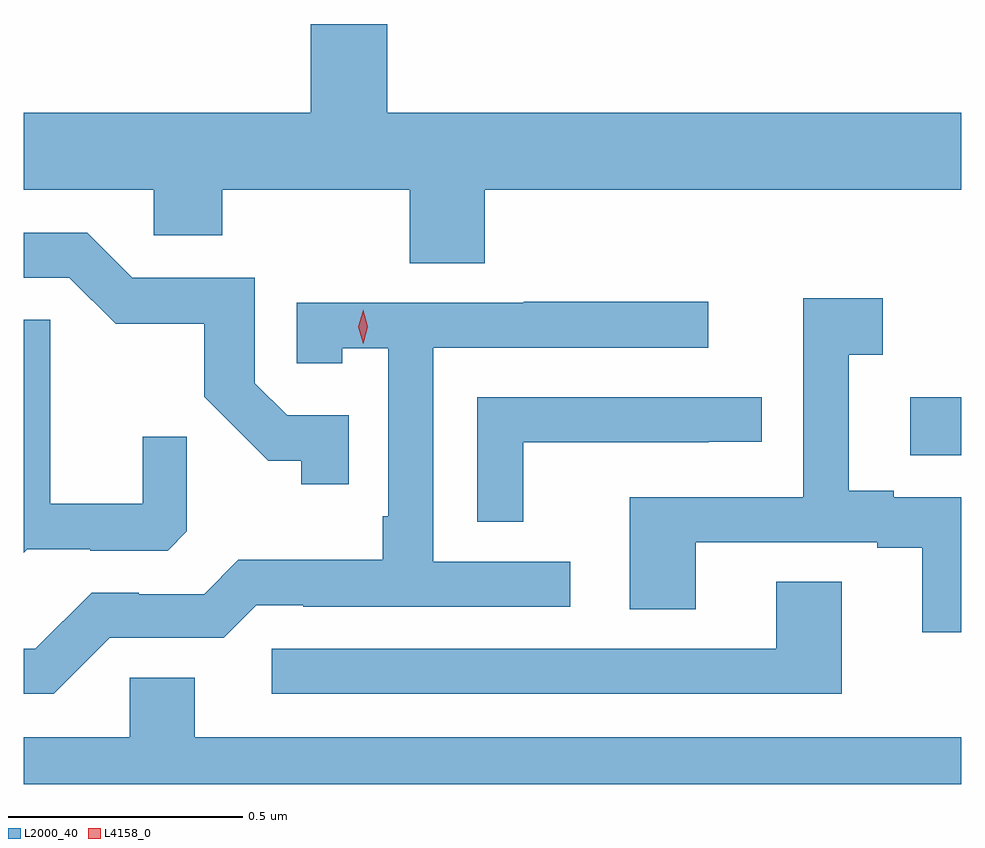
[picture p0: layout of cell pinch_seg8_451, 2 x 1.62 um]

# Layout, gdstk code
import gdstk
lib = gdstk.Library(unit=1e-6, precision=1e-09)
def R(c, l, rs):  # rectangles x0, y0, x1, y1
    for r in rs: c.add(gdstk.rectangle(r[:2], r[2:], *l))
def P(c, l, *ps):  # polygons
    for p in ps: c.add(gdstk.Polygon(p, *l))
L2000_40 = (2000, 40)
L4158_0 = (4158, 0)

pinch_seg8_451 = lib.new_cell('pinch_seg8_451')
R(pinch_seg8_451, L2000_40, [(346.107,1135.913,346.216,1136.037)])
P(pinch_seg8_451, L2000_40, [(345.2,1136.48),(346.216,1136.48),(346.216,1136.644),(344.992,1136.644),(344.992,1136.833),(344.828,1136.833),(344.828,1136.644),(344.216,1136.644),(344.216,1136.48),(344.493,1136.48),(344.493,1136.382),(344.64,1136.382),(344.64,1136.48),(345.04,1136.48),(345.04,1136.323),(345.2,1136.323)],
  [(344.909,1135.998),(344.778,1135.998),(344.709,1136.067),(344.709,1136.292),(344.448,1136.292),(344.352,1136.388),(344.216,1136.388),(344.216,1136.292),(344.313,1136.292),(344.412,1136.194),(344.601,1136.194),(344.601,1136.038),(344.738,1135.901),(344.808,1135.901),(344.808,1135.851),(344.909,1135.851)],
  [(346.216,1135.824),(346.072,1135.824),(346.072,1135.837),(345.976,1135.837),(345.976,1136.128),(346.048,1136.128),(346.048,1136.248),(345.879,1136.248),(345.879,1135.824),(345.509,1135.824),(345.509,1135.585),(345.649,1135.585),(345.649,1135.728),(346.037,1135.728),(346.037,1135.716),(346.133,1135.716),(346.133,1135.536),(346.216,1135.536)],
  [(344.4,1135.524),(344.643,1135.524),(344.712,1135.593),(344.812,1135.593),(344.812,1135.59),(345.382,1135.59),(345.382,1135.686),(345.09,1135.686),(345.09,1136.142),(345.676,1136.142),(345.676,1136.241),(345.283,1136.241),(345.283,1136.238),(344.799,1136.238),(344.799,1136.109),(344.895,1136.109),(344.895,1136.141),(344.994,1136.141),(344.994,1135.783),(344.982,1135.783),(344.982,1135.69),(344.674,1135.69),(344.601,1135.617),(344.462,1135.617),(344.462,1135.62),(344.361,1135.62),(344.241,1135.5),(344.216,1135.5),(344.216,1135.404),(344.28,1135.404)],
  [(344.224,1135.713),(344.358,1135.713),(344.358,1135.71),(344.523,1135.71),(344.564,1135.751),(344.564,1135.953),(344.47,1135.953),(344.47,1135.81),(344.273,1135.81),(344.273,1136.202),(344.216,1136.202),(344.216,1135.705)],
  [(345.282,1135.941),(345.677,1135.941),(345.677,1135.942),(345.79,1135.942),(345.79,1136.037),(345.183,1136.037),(345.183,1135.771),(345.282,1135.771)],
  [(345.961,1135.643),(345.821,1135.643),(345.821,1135.5),(344.745,1135.5),(344.745,1135.404),(345.961,1135.404)],
  [(346.216,1135.312),(344.581,1135.312),(344.581,1135.439),(344.442,1135.439),(344.442,1135.312),(344.216,1135.312),(344.216,1135.212),(346.216,1135.212)])
P(pinch_seg8_451, L4158_0, [(344.94,1136.151),(344.94,1136.151),(344.93,1136.187),(344.94,1136.222),(344.94,1136.223),(344.94,1136.222),(344.95,1136.187),(344.94,1136.151)])

lib.write_gds('pinch_seg8_451.gds')
